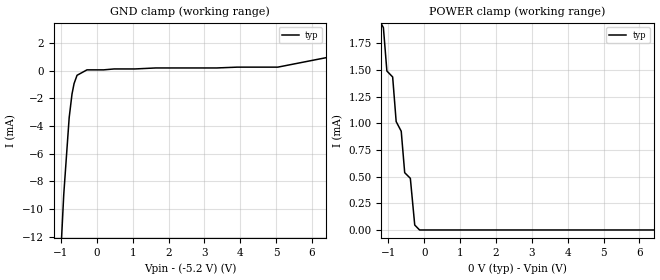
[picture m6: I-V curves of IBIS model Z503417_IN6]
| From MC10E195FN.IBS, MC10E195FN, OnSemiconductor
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| (C) COPYRIGHT 1993-2000
| MENTOR GRAPHICS CORPORATION
| ICX STANDARD LIBRARY, ICX PROJECT MODELING,
| ICX CUSTOM MODELING, ICX VENDOR MODEL
| ALL RIGHTS RESERVED.
| THE FOLLOWING ARE TRADEMARKS OR SERVICE MARKS OF
| MENTOR GRAPHICS CORPORATION:ICX (R), ICX STANDARD
| LIBRARY(R), ICX PROJECT MODELING(R), ICX CUSTOM
| MODELING(R), qualityIBIS(TM), MODELVIEWER(TM),
| AND MODELEDITOR(TM)
| ALL COPIES OF SOFTWARE, INCLUDING BUT NOT LIMITED TO
| ANY MODIFICATIONS, ENHANCEMENTS OR DERIVATIVE WORKS,
| MUST CONTAIN ALL MENTOR GRAPHICS CORPORATION'S
| NOTICES AND LEGENDS, INCLUDING THOSE EMBEDDED IN
| SOFTWARE AND THOSE AFFIXED TO SOFTWARE MEDIUM
| AND CONTAINER, AS RECEIVED FROM MENTOR GRAPHICS
| CORPORATION.
| Model Application Version 1.89 2/18/99.
[Model] Z503417_IN6
Model_type Input_ECL
Vinl = -1.480V
Vinh = -1.130V
C_comp 4.000pF NA NA
| variable typ   min   max
[Voltage Range] -5.200V NA NA
[GND Clamp Reference] -5.200V NA NA
[POWER Clamp Reference] 0.000V NA NA
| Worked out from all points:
|   GND clamp passes 1 mA (typ) near -0.64 V on its own axis
|   POWER clamp passes 1 mA (typ) near -0.76 V on its own axis
[GND Clamp]
-5.2V     -505mA     NA         NA
-1.001V   -12.99mA   NA         NA
-923mV    -8.943mA   NA         NA
-772mV    -3.394mA   NA         NA
-693mV    -1.68mA    NA         NA
-635mV    -917.2uA   NA         NA
-552mV    -321.2uA   NA         NA
-276mV    71.64uA    NA         NA
1.64V     209.5uA    NA         NA
5.048V    268.8uA    NA         NA
10.4V     2.989mA    NA         NA
[POWER Clamp]
-5.2V     32.47mA    NA         NA
-1.142V   1.895mA    NA         NA
-1.045V   1.489mA    NA         NA
-883.8mV  1.433mA    NA         NA
-785.9mV  1.015mA    NA         NA
-644.5mV  924.5uA    NA         NA
-548mV    536.6uA    NA         NA
-390.4mV  483.7uA    NA         NA
-267.9mV  46.32uA    NA         NA
-133.9mV  0A         NA         NA
10.4V     0A         NA         NA
